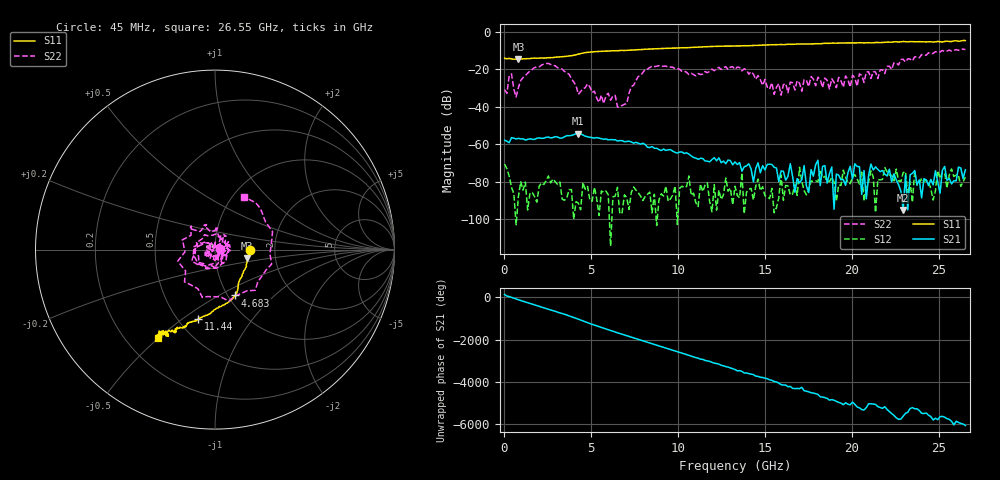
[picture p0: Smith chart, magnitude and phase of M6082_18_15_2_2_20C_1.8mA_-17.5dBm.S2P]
!  2-Port S-parameters saved by WinCal
! VAR MeasName=S-Parameters (CALIBRATED_DATA) read from VNA (C)
! VAR MeasDate=9/29/2015 3:11:42 PM
! VAR NAME=M6082_18_15_2_2_20C_1.8mA_-17.5dBm
! VAR FILENAME=M6082_18_15_2_2_20C_1.8mA_-17.5dBm.S2P
! VAR DATE=9/29/2015 3:11:42 PM
! VAR PHYS_PORTS=2,1
! VAR ObjTypeName=DATASET
! VAR IndexType=Frequency
# Hz S RI R 50
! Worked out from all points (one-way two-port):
!   201 points, 45 MHz to 26.55 GHz, reference 50 ohm
!   highest |S21| = -54.31 dB at 4.285 GHz (marker M1); lowest = -95.0 dB at 22.97 GHz (marker M2)
!   lowest |S11| = -14.6 dB at 840 MHz (marker M3), VSWR 1.46, Z = 71.5 - j7.06 ohm
!   |S11| at or under -10 dB: start of sweep to 6.619 GHz
!   |S22| runs from -40.1 to -9.2 dB; largest |S21 - S12| = 0.0019
!   S11 on the Smith chart (normalised r, x): 45 MHz: 1.49, -0.01; 4.683 GHz: 1.08, -0.60; 11.44 GHz: 0.63, -0.57; 26.55 GHz: 0.33, -0.50
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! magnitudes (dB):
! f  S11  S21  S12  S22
! 45 MHz  -14.1  -57.8  -70.6  -30.8
! 442.5 MHz  -14.5  -56.4  -82.9  -22.4
! 840 MHz  -14.6  -56.8  -87.7  -29.7
! 2.562 GHz  -13.8  -56.1  -76.9  -16.8
! 4.285 GHz  -11.9  -54.3  -91.3  -33.4
! 4.55 GHz  -11.4  -55.1  -80.3  -30.3
! 4.683 GHz  -11.1  -55.7  -84.0  -29.8
! 6.67 GHz  -10.0  -58.0  -97.1  -39.9
! 8.922 GHz  -9.0  -62.8  -89.6  -18.0
! 11.44 GHz  -8.0  -67.5  -85.2  -22.6
! 13.29 GHz  -7.5  -69.4  -82.4  -20.1
! 14.36 GHz  -7.3  -80.0  -89.7  -22.6
! 14.62 GHz  -7.2  -69.8  -78.5  -23.3
! 15.95 GHz  -6.8  -74.2  -76.3  -33.8
! 17.8 GHz  -6.4  -77.0  -79.7  -25.2
! 18.07 GHz  -6.3  -68.5  -79.9  -24.2
! 18.2 GHz  -6.4  -82.0  -73.6  -25.4
! 18.46 GHz  -6.1  -71.4  -77.1  -24.6
! 18.59 GHz  -6.2  -80.7  -79.8  -25.8
! 22.17 GHz  -5.5  -73.3  -76.4  -18.4
! 22.97 GHz  -5.2  -95.0  -75.0  -14.6
! 26.55 GHz  -4.7  -73.5  -77.5  -9.5
